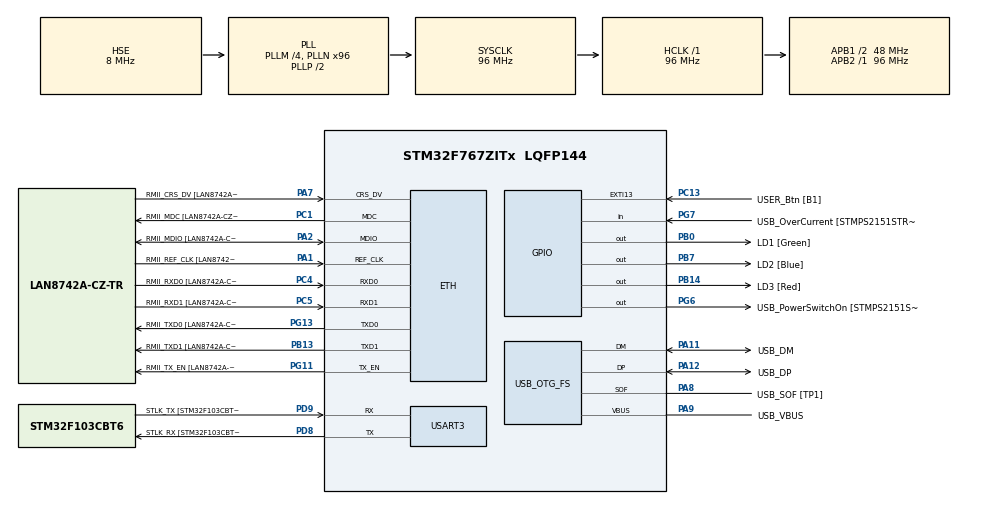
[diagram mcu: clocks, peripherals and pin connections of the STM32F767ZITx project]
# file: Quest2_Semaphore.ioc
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ETH.MediaInterface=HAL_ETH_RMII_MODE
ETH.PHY_Name=LAN8742A_PHY_ADDRESS
ETH.PHY_Value=0
ETH.PhyAddress=0
FREERTOS.CountingSemaphores01=myCountingSem01,2,Dynamic,NULL,0
FREERTOS.Tasks01=myTask01,26,128,StartTask01,Default,NULL,Dynamic,NULL,NULL;myTask02,25,128,StartTask02,Default,NULL,Dynamic,NULL,NULL;myTask03,24,128,StartTask03,Default,NULL,Dynamic,NULL,NULL
FREERTOS.configUSE_NEWLIB_REENTRANT=1
Mcu.Family=STM32F7
Mcu.Name=STM32F767ZITx
Mcu.Package=LQFP144
NVIC.EXTI15_10_IRQn=true\:5\:0\:false\:false\:true\:true\:true\:true\:true
NVIC.PriorityGroup=NVIC_PRIORITYGROUP_4
NVIC.TIM1_UP_TIM10_IRQn=true\:15\:0\:false\:false\:true\:false\:false\:true\:true
NVIC.TimeBase=TIM1_UP_TIM10_IRQn
NVIC.TimeBaseIP=TIM1
PA1.GPIO_Label=RMII_REF_CLK [LAN8742A-CZ-TR_REFCLK0]
PA1.Mode=RMII
PA1.Signal=ETH_REF_CLK
PA10.GPIO_Label=USB_ID
PA10.Signal=USB_OTG_FS_ID
PA11.GPIO_Label=USB_DM
PA11.Mode=Device_Only
PA11.Signal=USB_OTG_FS_DM
PA12.GPIO_Label=USB_DP
PA12.Mode=Device_Only
PA12.Signal=USB_OTG_FS_DP
PA13.GPIO_Label=TMS
PA13.Mode=Serial_Wire
PA13.Signal=SYS_JTMS-SWDIO
PA14.GPIO_Label=TCK
PA14.Mode=Serial_Wire
PA14.Signal=SYS_JTCK-SWCLK
PA2.GPIO_Label=RMII_MDIO [LAN8742A-CZ-TR_MDIO]
PA2.Mode=RMII
PA2.Signal=ETH_MDIO
PA7.GPIO_Label=RMII_CRS_DV [LAN8742A-CZ-TR_CRS_DV]
PA7.Mode=RMII
PA7.Signal=ETH_CRS_DV
PA8.GPIO_Label=USB_SOF [TP1]
PA8.Mode=Activate_SOF_FS
PA8.Signal=USB_OTG_FS_SOF
PA9.GPIO_Label=USB_VBUS
PA9.Mode=Activate_VBUS
PA9.Signal=USB_OTG_FS_VBUS
PB0.GPIO_Label=LD1 [Green]
PB0.Signal=GPIO_Output
PB13.GPIO_Label=RMII_TXD1 [LAN8742A-CZ-TR_TXD1]
PB13.Mode=RMII
PB13.Signal=ETH_TXD1
PB14.GPIO_Label=LD3 [Red]
PB14.Signal=GPIO_Output
PB3.GPIO_Label=SWO
PB3.Signal=SYS_JTDO-SWO
PB7.GPIO_Label=LD2 [Blue]
PB7.Signal=GPIO_Output
PC1.GPIO_Label=RMII_MDC [LAN8742A-CZ-TR_MDC]
PC1.Mode=RMII
PC1.Signal=ETH_MDC
PC13.GPIO_Label=USER_Btn [B1]
PC13.Signal=GPXTI13
PC14/OSC32_IN.Mode=LSE-External-Oscillator
PC14/OSC32_IN.Signal=RCC_OSC32_IN
PC15/OSC32_OUT.Mode=LSE-External-Oscillator
PC15/OSC32_OUT.Signal=RCC_OSC32_OUT
PC4.GPIO_Label=RMII_RXD0 [LAN8742A-CZ-TR_RXD0]
PC4.Mode=RMII
PC4.Signal=ETH_RXD0
PC5.GPIO_Label=RMII_RXD1 [LAN8742A-CZ-TR_RXD1]
PC5.Mode=RMII
PC5.Signal=ETH_RXD1
PD8.GPIO_Label=STLK_RX [STM32F103CBT6_PA3]
PD8.Mode=Asynchronous
PD8.Signal=USART3_TX
PD9.GPIO_Label=STLK_TX [STM32F103CBT6_PA2]
PD9.Mode=Asynchronous
PD9.Signal=USART3_RX
PG11.GPIO_Label=RMII_TX_EN [LAN8742A-CZ-TR_TXEN]
PG11.Mode=RMII
PG11.Signal=ETH_TX_EN
PG13.GPIO_Label=RMII_TXD0 [LAN8742A-CZ-TR_TXD0]
PG13.Mode=RMII
PG13.Signal=ETH_TXD0
PG6.GPIO_Label=USB_PowerSwitchOn [STMPS2151STR_EN]
PG6.Signal=GPIO_Output
PG7.GPIO_Label=USB_OverCurrent [STMPS2151STR_FAULT]
PG7.Signal=GPIO_Input
PH0/OSC_IN.GPIO_Label=MCO [STM32F103CBT6_PA8]
PH0/OSC_IN.Mode=HSE-External-Oscillator
PH0/OSC_IN.Signal=RCC_OSC_IN
PH1/OSC_OUT.Mode=HSE-External-Oscillator
PH1/OSC_OUT.Signal=RCC_OSC_OUT
ProjectManager.HeapSize=0x200
ProjectManager.StackSize=0x400
ProjectManager.TargetToolchain=STM32CubeIDE
RCC.48MHZClocksFreq_Value=24000000
RCC.AHBFreq_Value=96000000
RCC.APB1CLKDivider=RCC_HCLK_DIV2
RCC.APB1Freq_Value=48000000
RCC.APB1TimFreq_Value=96000000
RCC.APB2Freq_Value=96000000
RCC.APB2TimFreq_Value=96000000
RCC.CortexFreq_Value=96000000
RCC.HCLKFreq_Value=96000000
RCC.HSE_VALUE=8000000
RCC.HSI_VALUE=16000000
RCC.PLLM=4
RCC.PLLMUL=RCC_PLL_MUL9
RCC.PLLN=96
RCC.PLLQ=4
RCC.PRESCALERUSB=RCC_USBCLKSOURCE_PLL_DIV1_5
RCC.SYSCLKFreq_VALUE=96000000
RCC.SYSCLKSource=RCC_SYSCLKSOURCE_PLLCLK
RCC.SYSCLKSourceVirtual=RCC_SYSCLKSOURCE_PLLCLK
RCC.USBFreq_Value=48000000
RCC.VCOOutputFreq_Value=192000000
USART3.VirtualMode-Asynchronous=VM_ASYNC
USB_OTG_FS.VirtualMode=Device_Only
VP_FREERTOS_VS_CMSIS_V2.Mode=CMSIS_V2
VP_SYS_VS_tim1.Mode=TIM1
board=NUCLEO-F767ZI

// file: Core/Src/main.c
/* USER CODE BEGIN Header */
/**
  ******************************************************************************
  * @file           : main.c
  * @brief          : Main program body
  ******************************************************************************
  * @attention
  *
  * Copyright (c) 2025 STMicroelectronics.
  * All rights reserved.
  *
  * This software is licensed under terms that can be found in the LICENSE file
  * in the root directory of this software component.
  * If no LICENSE file comes with this software, it is provided AS-IS.
  *
  ******************************************************************************
  */
/* USER CODE END Header */
#include "main.h"
#include "string.h"
#include "cmsis_os.h"

#if defined ( __ICCARM__ ) /*!< IAR Compiler */
#pragma location=0x2007c000
ETH_DMADescTypeDef  DMARxDscrTab[ETH_RX_DESC_CNT]; /* Ethernet Rx DMA Descriptors */
#pragma location=0x2007c0a0
ETH_DMADescTypeDef  DMATxDscrTab[ETH_TX_DESC_CNT]; /* Ethernet Tx DMA Descriptors */

#elif defined ( __CC_ARM )  /* MDK ARM Compiler */

__attribute__((at(0x2007c000))) ETH_DMADescTypeDef  DMARxDscrTab[ETH_RX_DESC_CNT]; /* Ethernet Rx DMA Descriptors */
__attribute__((at(0x2007c0a0))) ETH_DMADescTypeDef  DMATxDscrTab[ETH_TX_DESC_CNT]; /* Ethernet Tx DMA Descriptors */

#elif defined ( __GNUC__ ) /* GNU Compiler */

ETH_DMADescTypeDef DMARxDscrTab[ETH_RX_DESC_CNT] __attribute__((section(".RxDecripSection"))); /* Ethernet Rx DMA Descriptors */
ETH_DMADescTypeDef DMATxDscrTab[ETH_TX_DESC_CNT] __attribute__((section(".TxDecripSection")));   /* Ethernet Tx DMA Descriptors */
#endif

ETH_TxPacketConfig TxConfig;

ETH_HandleTypeDef heth;

UART_HandleTypeDef huart3;

PCD_HandleTypeDef hpcd_USB_OTG_FS;

/* Definitions for myTask01 */
osThreadId_t myTask01Handle;
const osThreadAttr_t myTask01_attributes = {
  .name = "myTask01",
  .stack_size = 128 * 4,
  .priority = (osPriority_t) osPriorityNormal2,
};
/* Definitions for myTask02 */
osThreadId_t myTask02Handle;
const osThreadAttr_t myTask02_attributes = {
  .name = "myTask02",
  .stack_size = 128 * 4,
  .priority = (osPriority_t) osPriorityNormal1,
};
/* Definitions for myTask03 */
osThreadId_t myTask03Handle;
const osThreadAttr_t myTask03_attributes = {
  .name = "myTask03",
  .stack_size = 128 * 4,
  .priority = (osPriority_t) osPriorityNormal,
};
/* Definitions for myCountingSem01 */
osSemaphoreId_t myCountingSem01Handle;
const osSemaphoreAttr_t myCountingSem01_attributes = {
  .name = "myCountingSem01"
};
/* USER CODE BEGIN PV */
uint32_t count = 0;
/* USER CODE END PV */

void SystemClock_Config(void);
static void MX_GPIO_Init(void);
static void MX_ETH_Init(void);
static void MX_USART3_UART_Init(void);
static void MX_USB_OTG_FS_PCD_Init(void);
void StartTask01(void *argument);
void StartTask02(void *argument);
void StartTask03(void *argument);

int main(void)
{

  /* MCU Configuration--------------------------------------------------------*/

  /* Reset of all peripherals, Initializes the Flash interface and the Systick. */
  HAL_Init();

  /* Configure the system clock */
  SystemClock_Config();

  /* Initialize all configured peripherals */
  MX_GPIO_Init();
  MX_ETH_Init();
  MX_USART3_UART_Init();
  MX_USB_OTG_FS_PCD_Init();

  /* Init scheduler */
  osKernelInitialize();

  /* Create the semaphores(s) */
  /* creation of myCountingSem01 */
  myCountingSem01Handle = osSemaphoreNew(2, 0, &myCountingSem01_attributes);

  /* Create the thread(s) */
  /* creation of myTask01 */
  myTask01Handle = osThreadNew(StartTask01, NULL, &myTask01_attributes);

  /* creation of myTask02 */
  myTask02Handle = osThreadNew(StartTask02, NULL, &myTask02_attributes);

  /* creation of myTask03 */
  myTask03Handle = osThreadNew(StartTask03, NULL, &myTask03_attributes);

  /* Start scheduler */
  osKernelStart();

  /* We should never get here as control is now taken by the scheduler */

  /* Infinite loop */
  while (1)
  {

  }
}

void SystemClock_Config(void)
{
  RCC_OscInitTypeDef RCC_OscInitStruct = {0};
  RCC_ClkInitTypeDef RCC_ClkInitStruct = {0};

  /** Configure LSE Drive Capability
  */
  HAL_PWR_EnableBkUpAccess();

  /** Configure the main internal regulator output voltage
  */
  __HAL_RCC_PWR_CLK_ENABLE();
  __HAL_PWR_VOLTAGESCALING_CONFIG(PWR_REGULATOR_VOLTAGE_SCALE3);

  /** Initializes the RCC Oscillators according to the specified parameters
  * in the RCC_OscInitTypeDef structure.
  */
  RCC_OscInitStruct.OscillatorType = RCC_OSCILLATORTYPE_HSE;
  RCC_OscInitStruct.HSEState = RCC_HSE_ON;
  RCC_OscInitStruct.PLL.PLLState = RCC_PLL_ON;
  RCC_OscInitStruct.PLL.PLLSource = RCC_PLLSOURCE_HSE;
  RCC_OscInitStruct.PLL.PLLM = 4;
  RCC_OscInitStruct.PLL.PLLN = 96;
  RCC_OscInitStruct.PLL.PLLP = RCC_PLLP_DIV2;
  RCC_OscInitStruct.PLL.PLLQ = 4;
  RCC_OscInitStruct.PLL.PLLR = 2;
  if (HAL_RCC_OscConfig(&RCC_OscInitStruct) != HAL_OK)
  {
    Error_Handler();
  }

  /** Activate the Over-Drive mode
  */
  if (HAL_PWREx_EnableOverDrive() != HAL_OK)
  {
    Error_Handler();
  }

  /** Initializes the CPU, AHB and APB buses clocks
  */
  RCC_ClkInitStruct.ClockType = RCC_CLOCKTYPE_HCLK|RCC_CLOCKTYPE_SYSCLK
                              |RCC_CLOCKTYPE_PCLK1|RCC_CLOCKTYPE_PCLK2;
  RCC_ClkInitStruct.SYSCLKSource = RCC_SYSCLKSOURCE_PLLCLK;
  RCC_ClkInitStruct.AHBCLKDivider = RCC_SYSCLK_DIV1;
  RCC_ClkInitStruct.APB1CLKDivider = RCC_HCLK_DIV2;
  RCC_ClkInitStruct.APB2CLKDivider = RCC_HCLK_DIV1;

  if (HAL_RCC_ClockConfig(&RCC_ClkInitStruct, FLASH_LATENCY_3) != HAL_OK)
  {
    Error_Handler();
  }
}

static void MX_ETH_Init(void)
{

   static uint8_t MACAddr[6];

  heth.Instance = ETH;
  MACAddr[0] = 0x00;
  MACAddr[1] = 0x80;
  MACAddr[2] = 0xE1;
  MACAddr[3] = 0x00;
  MACAddr[4] = 0x00;
  MACAddr[5] = 0x00;
  heth.Init.MACAddr = &MACAddr[0];
  heth.Init.MediaInterface = HAL_ETH_RMII_MODE;
  heth.Init.TxDesc = DMATxDscrTab;
  heth.Init.RxDesc = DMARxDscrTab;
  heth.Init.RxBuffLen = 1524;

  if (HAL_ETH_Init(&heth) != HAL_OK)
  {
    Error_Handler();
  }

  memset(&TxConfig, 0 , sizeof(ETH_TxPacketConfig));
  TxConfig.Attributes = ETH_TX_PACKETS_FEATURES_CSUM | ETH_TX_PACKETS_FEATURES_CRCPAD;
  TxConfig.ChecksumCtrl = ETH_CHECKSUM_IPHDR_PAYLOAD_INSERT_PHDR_CALC;
  TxConfig.CRCPadCtrl = ETH_CRC_PAD_INSERT;

}

static void MX_USART3_UART_Init(void)
{

  huart3.Instance = USART3;
  huart3.Init.BaudRate = 115200;
  huart3.Init.WordLength = UART_WORDLENGTH_8B;
  huart3.Init.StopBits = UART_STOPBITS_1;
  huart3.Init.Parity = UART_PARITY_NONE;
  huart3.Init.Mode = UART_MODE_TX_RX;
  huart3.Init.HwFlowCtl = UART_HWCONTROL_NONE;
  huart3.Init.OverSampling = UART_OVERSAMPLING_16;
  huart3.Init.OneBitSampling = UART_ONE_BIT_SAMPLE_DISABLE;
  huart3.AdvancedInit.AdvFeatureInit = UART_ADVFEATURE_NO_INIT;
  if (HAL_UART_Init(&huart3) != HAL_OK)
  {
    Error_Handler();
  }

}

static void MX_USB_OTG_FS_PCD_Init(void)
{

  hpcd_USB_OTG_FS.Instance = USB_OTG_FS;
  hpcd_USB_OTG_FS.Init.dev_endpoints = 6;
  hpcd_USB_OTG_FS.Init.speed = PCD_SPEED_FULL;
  hpcd_USB_OTG_FS.Init.dma_enable = DISABLE;
  hpcd_USB_OTG_FS.Init.phy_itface = PCD_PHY_EMBEDDED;
  hpcd_USB_OTG_FS.Init.Sof_enable = ENABLE;
  hpcd_USB_OTG_FS.Init.low_power_enable = DISABLE;
  hpcd_USB_OTG_FS.Init.lpm_enable = DISABLE;
  hpcd_USB_OTG_FS.Init.vbus_sensing_enable = ENABLE;
  hpcd_USB_OTG_FS.Init.use_dedicated_ep1 = DISABLE;
  if (HAL_PCD_Init(&hpcd_USB_OTG_FS) != HAL_OK)
  {
    Error_Handler();
  }

}

static void MX_GPIO_Init(void)
{
  GPIO_InitTypeDef GPIO_InitStruct = {0};

  /* GPIO Ports Clock Enable */
  __HAL_RCC_GPIOC_CLK_ENABLE();
  __HAL_RCC_GPIOH_CLK_ENABLE();
  __HAL_RCC_GPIOA_CLK_ENABLE();
  __HAL_RCC_GPIOB_CLK_ENABLE();
  __HAL_RCC_GPIOD_CLK_ENABLE();
  __HAL_RCC_GPIOG_CLK_ENABLE();

  /*Configure GPIO pin Output Level */
  HAL_GPIO_WritePin(GPIOB, LD1_Pin|LD3_Pin|LD2_Pin, GPIO_PIN_RESET);

  /*Configure GPIO pin Output Level */
  HAL_GPIO_WritePin(USB_PowerSwitchOn_GPIO_Port, USB_PowerSwitchOn_Pin, GPIO_PIN_RESET);

  /*Configure GPIO pin : USER_Btn_Pin */
  GPIO_InitStruct.Pin = USER_Btn_Pin;
  GPIO_InitStruct.Mode = GPIO_MODE_IT_RISING;
  GPIO_InitStruct.Pull = GPIO_NOPULL;
  HAL_GPIO_Init(USER_Btn_GPIO_Port, &GPIO_InitStruct);

  /*Configure GPIO pins : LD1_Pin LD3_Pin LD2_Pin */
  GPIO_InitStruct.Pin = LD1_Pin|LD3_Pin|LD2_Pin;
  GPIO_InitStruct.Mode = GPIO_MODE_OUTPUT_PP;
  GPIO_InitStruct.Pull = GPIO_NOPULL;
  GPIO_InitStruct.Speed = GPIO_SPEED_FREQ_LOW;
  HAL_GPIO_Init(GPIOB, &GPIO_InitStruct);

  /*Configure GPIO pin : USB_PowerSwitchOn_Pin */
  GPIO_InitStruct.Pin = USB_PowerSwitchOn_Pin;
  GPIO_InitStruct.Mode = GPIO_MODE_OUTPUT_PP;
  GPIO_InitStruct.Pull = GPIO_NOPULL;
  GPIO_InitStruct.Speed = GPIO_SPEED_FREQ_LOW;
  HAL_GPIO_Init(USB_PowerSwitchOn_GPIO_Port, &GPIO_InitStruct);

  /*Configure GPIO pin : USB_OverCurrent_Pin */
  GPIO_InitStruct.Pin = USB_OverCurrent_Pin;
  GPIO_InitStruct.Mode = GPIO_MODE_INPUT;
  GPIO_InitStruct.Pull = GPIO_NOPULL;
  HAL_GPIO_Init(USB_OverCurrent_GPIO_Port, &GPIO_InitStruct);

  /* EXTI interrupt init*/
  HAL_NVIC_SetPriority(EXTI15_10_IRQn, 5, 0);
  HAL_NVIC_EnableIRQ(EXTI15_10_IRQn);

}

/* USER CODE BEGIN 4 */
void HAL_GPIO_EXTI_Callback(uint16_t pin)
{
	if(pin == USER_Btn_Pin)
	{
		char *str = "Release! /r/n";
		HAL_UART_Transmit(&huart3, (uint8_t*) str, strlen(str), 100);

		osSemaphoreRelease(myCountingSem01Handle);
		osSemaphoreRelease(myCountingSem01Handle);
	}
}

/* USER CODE END 4 */

void StartTask01(void *argument)
{
  /* USER CODE BEGIN 5 */
  /* Infinite loop */
  for(;;)
  {
	  count = osSemaphoreGetCount(myCountingSem01Handle);
	  osSemaphoreAcquire(myCountingSem01Handle, osWaitForever);
	  count = osSemaphoreGetCount(myCountingSem01Handle);

	  char *str =  "Task 01 adquirindo semaforo!/r/n";
	  HAL_UART_Transmit(&huart3, (uint8_t*) str, strlen(str), 100);
	  HAL_GPIO_TogglePin(LD1_GPIO_Port, LD1_Pin);
	  osDelay(1000);
  }
  /* USER CODE END 5 */
}

void StartTask02(void *argument)
{
  /* USER CODE BEGIN StartTask02 */
  /* Infinite loop */
  for(;;)
  {
	  count = osSemaphoreGetCount(myCountingSem01Handle);
	  osSemaphoreAcquire(myCountingSem01Handle, osWaitForever);
	  count = osSemaphoreGetCount(myCountingSem01Handle);

	  char *str =  "Task 02 adquirindo semaforo!/r/n";
	  HAL_UART_Transmit(&huart3, (uint8_t*) str, strlen(str), 100);
	  HAL_GPIO_TogglePin(LD2_GPIO_Port, LD2_Pin);
	  osDelay(1000);
  }
  /* USER CODE END StartTask02 */
}

void StartTask03(void *argument)
{
  /* USER CODE BEGIN StartTask03 */
  /* Infinite loop */
  for(;;)
  {
	  count = osSemaphoreGetCount(myCountingSem01Handle);
	  osSemaphoreAcquire(myCountingSem01Handle, osWaitForever);
	  count = osSemaphoreGetCount(myCountingSem01Handle);

	  char *str =  "Task 03 adquirindo semaforo!/r/n";
	  HAL_UART_Transmit(&huart3, (uint8_t*) str, strlen(str), 100);
	  HAL_GPIO_TogglePin(LD3_GPIO_Port, LD3_Pin);
	  osDelay(1000);
  }
  /* USER CODE END StartTask03 */
}

void HAL_TIM_PeriodElapsedCallback(TIM_HandleTypeDef *htim)
{
  if (htim->Instance == TIM1)
  {
    HAL_IncTick();
  }
}

void Error_Handler(void)
{
  __disable_irq();
  while (1)
  {
  }
}
